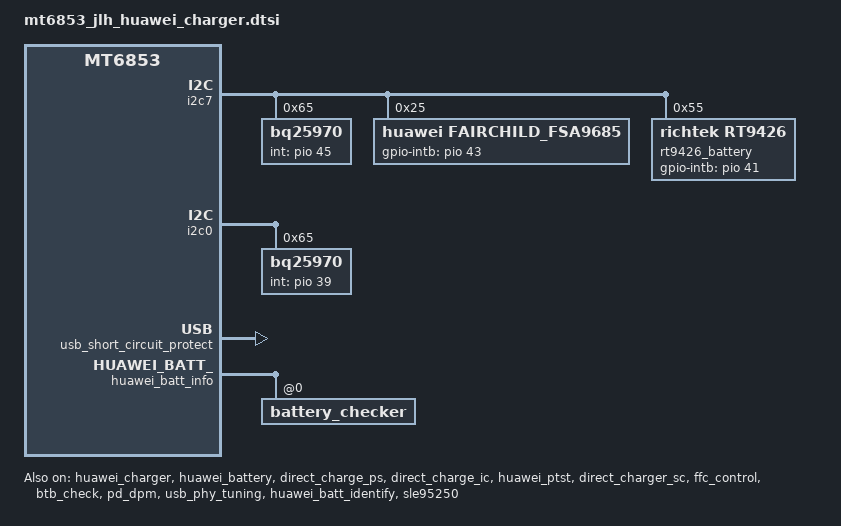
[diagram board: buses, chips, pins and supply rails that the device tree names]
&charger {
	ac_charger_current = <2695000>;
	ac_charger_input_current = <2300000>;
	fcp_charger_current = <2500000>;
	fcp_charger_input_current = <1400000>;
	non_std_ac_charger_current = <1200000>;
	pd_vbus_upper_bound = <9000000>;
	max_charger_voltage = <12000000>;
	bc12_charger = <22>; /* usb switch do bc12 */
	dpm_enable;
	battery_cv = <4440000>;
	iterm = <500000>;
	vbus_max_limit = <11500>;
	jeita_temp_above_t4_cv = <4100000>;
        jeita_temp_t3_to_t4_cv = <4100000>;
        jeita_temp_t2_to_t3_cv = <4440000>;
        jeita_temp_t1_to_t2_cv = <4440000>;
        jeita_temp_t0_to_t1_cv = <4440000>;
        jeita_temp_below_t0_cv = <4100000>;
        jeita_temp_t3_to_t4_cur = <1400000>;
        jeita_temp_t2_to_t3_cur = <2800000>;
        jeita_temp_t1_to_t2_cur = <1200000>;
        jeita_temp_t0_to_t1_cur = <400000>;
	vdpm_buf_limit = <100>;
	vdpm_para =
			"-32767", "4000", "4300", "50",
			"4000", "4200", "4500", "50",
			"4200", "32767", "4600", "50";
	charge_full_design = <3900000>;
};

&pio {
	bq25970_main_irq_pins_default: bq25970_main_irq_pins_default {
		pins_cmd_dat {
			pinmux = <PINMUX_GPIO45__FUNC_GPIO45>;
			slew-rate = <0>;
			bias-pull-up;
		};
	};
	bq25970_aux_irq_pins_default: bq25970_aux_irq_pins_default {
		pins_cmd_dat {
			pinmux = <PINMUX_GPIO39__FUNC_GPIO39>;
			slew-rate = <0>;
			bias-pull-up;
		};
	};
	fsa9685_irq_pins_default: fsa9685_irq_pins_default {
		pins_cmd_dat {
			pinmux = <PINMUX_GPIO43__FUNC_GPIO43>;
			slew-rate = <0>;
			bias-pull-up;
		};
	};
	rt9426_irq_pins_default: rt9426_irq_pins_default {
		pins_cmd_dat {
			pinmux = <PINMUX_GPIO41__FUNC_GPIO41>;
			slew-rate = <0>;
			bias-pull-up;
		};
	};
	bq27z561_irq_pins_default: bq27z561_irq_pins_default {
		pins_cmd_dat {
			pinmux = <PINMUX_GPIO41__FUNC_GPIO41>;
			slew-rate = <0>;
			bias-pull-up;
		};
	};
	battct_swi_pins_default: battct_swi_pins_default {
		pins_cmd_dat {
			pinmux = <PINMUX_GPIO46__FUNC_GPIO46>;
			slew-rate = <0>;
			bias-disabled;
			input-enable;
			drive-strength = <3>;
		};
	};
	battct_id_pins_default: battct_id_pins_default {
		pins_cmd_dat {
			pinmux = <PINMUX_GPIO48__FUNC_GPIO48>;
			slew-rate = <0>;
			bias-disabled;
			output-high;
		};
	};
};

&i2c7 {
	bq25970@65 {
		compatible = "bq25970";
		pinctrl-names = "default";
		pinctrl-0 = <&bq25970_main_irq_pins_default>;
		gpio_int = <&pio 45 0x0>;
		switching_frequency = <675>;
		sense_r_config = <20>;
		sense_r_actual = <10>;
		reg = <0x65>;
		status = "ok";
	};

	fairchild_fsa9685@25 {
		compatible = "huawei,fairchild_fsa9685";
		reg = <0x25>;
		pinctrl-names = "default";
		pinctrl-0 = <&fsa9685_irq_pins_default>;
		fairchild_fsa9685,gpio-intb = <&pio 43 0x0>;
		fcp_support = <1>;
		scp_support = <1>;
		power_by_5v = <1>;
		close_bc12 = <1>;
		need_other_bc12 = <0>;
		ignore_force_ac = <1>;
		/* for rt8979 */
		interrupt-names = "vbus_change", "device_change", "detach",
			"attach";
		/* auto_switch; */
		scp;
		dcd;
		dcd_timeout = <600>;  /* ms */
		intb_watchdog = <1000>;  /* ms */
		ovp_sel = <14500000>;  /* uV */
		status = "ok";
	};
	bq27z561_fg@55 {
		reg = <0x55>;
		compatible = "huawei,bq27z561";
		status = "disabled";
		pinctrl-names = "default";
		pinctrl-0 = <&bq27z561_irq_pins_default>;
		bq27z561,gpio-intb = <&pio 41 0x0>;
		ntc_compensation_is = <1>;
		ntc_temp_compensation_para =
			"11000", "140",
			"10000", "120",
			"9000", "100",
			"8000", "80",
			"7000", "60",
			"6000", "50",
			"5000", "40",
			"3000", "20",
			"2000", "10";
		batt_default_name = "ti_BCYCAE_4445_3900mah_BT162";
		#include "ti_BCYCAE_4445_3900mah_BT162.dtsi"
	};
	rt9426_battery@55{
		reg = <0x55>;
		rt,bat_name = "rt_battery";
		compatible = "richtek,rt9426";
		pinctrl-names = "default";
		pinctrl-0 = <&rt9426_irq_pins_default>;
		rt9426,gpio-intb = <&pio 41 0x0>;
		rt,dtsi_version = <02 724>;
		rt,battery_type = <4400>;
		rt,volt_source = <1>;		/* 0:AP 1:FG_VBAT 2:FG_OCV; 3:FG_AV  */
		rt,temp_source = <1>;		/* 0:AP 1:FG_TEMP 2:FG_INTT; 3:FG_AT */
		rt,curr_source = <2>;		/* 0:AP 1:FG_CURR 2:FG_AI            */
		rt,offset_interpolation_order = <2 2>;
		rt,soc_offset_size = <2 1>;
		rt,soc_offset_data = < 0 250 0 1000 250 0>;
		rt,extreg_size = <30>;
		rt_config_ver = <7>;
		rt,extreg_data = <
			0x1 0x4A 0x320B
			0x1 0x4C 0x0402
			0x1 0x4E 0x1810
			0x2 0x4E 0x2404
			0x3 0x4E 0xB708
			0x5 0x48 0x020A
			0x5 0x4C 0x3223
			0x6 0x40 0x8813
			0x6 0x42 0x8224
			0x6 0x44 0xAF77
			0x6 0x48 0xA310
			0x6 0x4A 0x6852
			0x6 0x4C 0x6457
			0x6 0x4E 0x0464
			0x7 0x40 0x0D12
			0x7 0x42 0x0508
			0x7 0x44 0x0505
			0x7 0x46 0x0101
			0x7 0x48 0x0101
			0x7 0x4A 0x0101
			0x7 0x4C 0x0001
			0x7 0x4E 0xFFFF
			0x8 0x40 0xFFFE
			0x8 0x42 0xFFFF
			0x8 0x44 0xFAFA
			0x8 0x46 0xF9FA
			0x8 0x48 0xFFFF
			0x8 0x4A 0xF2FF
			0x8 0x4C 0xECF2
			0x8 0x4E 0x00E7 >;
		rt,design_capacity = <1480>;
		rt,fcc = <1476>;
		rt,fg_fc_vth = <0x9F>;
		rt,fg_fc_ith = <0x3A>;
		rt,fg_fc_sth = <0x05>;
		rt,fg_fd_vth = <0x6A>;
		rt,fg_op_config = <0x3400 0x4000 0x3EFB 0x2000 0x087F>;
		rt,fg_otc_tth = <0x0064>;
		rt,fg_otc_chg_ith = <0x045F>;
		rt,fg_otd_tth = <0x0064>;
		rt,fg_otd_dchg_ith = <0x045F>;
		rt,fg_uvov_threshold = <0x00FF>;
		rt,fg_us_threshold = <0x00>;
		rt,fg_curr_db = <0x04>;
		rt,rs_ic_setting = <250>; /* 2.5mR */
		rt,rs_schematic = <100>; /* 1.0mR */
		rt,fg_ocv_table = < 0x0013 0x44C0 0x4B00 0x55F3 0x5A60 0x5BED 0x5C93 0x5DFA
				0x5FA6 0x60AD 0x619A 0x62CD 0x63AD 0x662D 0x687A 0x69E0
				0x6B0D 0x6C46 0x6DC0 0x706D 0x1900 0x0AF3 0x0367 0x01A2
				0x002B 0x004B 0x0035 0x003E 0x0058 0x00A6 0x0080 0x007F
				0x0090 0x0092 0x008F 0x008B 0x006D 0x0112 0x0013 0xFF80
				0x0000 0x0200 0x049A 0x0680 0x0E4D 0x17E6 0x281A 0x309A
				0x3600 0x39B3 0x3D33 0x474D 0x4F80 0x5466 0x589A 0x5D1A
				0x6400 0x6900 0x000A 0x0017 0x004B 0x009D 0x0600 0x036E
				0x04D6 0x0425 0x02EB 0x018B 0x0200 0x0205 0x01C8 0x01C0
				0x01CA 0x01D6 0x0257 0x00EF 0x27A8 0x0000 0x0000 0x0000 >;
		ntc_compensation_is = <1>;
		ntc_temp_compensation_para =
			"11000", "140",
			"10000", "120",
			"9000", "100",
			"8000", "80",
			"7000", "60",
			"6000", "50",
			"5000", "40",
			"3000", "20",
			"2000", "10";
		status = "ok";
	};
};
&i2c0 {
	bq25970@65 {
		compatible = "bq25970";
		pinctrl-names = "default";
		pinctrl-0 = <&bq25970_aux_irq_pins_default>;
		gpio_int = <&pio 39 0x0>;
		ic_role = <1>;
		switching_frequency = <675>;
		sense_r_config = <20>;
		sense_r_actual = <10>;
		reg = <0x65>;
		status = "ok";
	};
};
&huawei_charger {
	compatible = "huawei,charger";
	status = "okay";
};

&huawei_battery {
	compatible = "huawei,battery";
	voltage_max_design = <4430000>;
	status = "okay";
};

&lk_charger{
	ac_charger_current = <1050000>;
	ac_charger_input_current = <1050000>;
	non_std_ac_charger_current = <1050000>;
	max_charger_voltage = <12000000>;
	is_power_path;
	poweron_charger_enable = <1>;
};

&direct_charge_ps {
	status = "ok";
};

&direct_charge_ic {
	/* ic_index  path_index  max_ibat  ibat_sample_point  vbat_sample_point */
	ic_para1 =
		"0", "0", "0", "0", "0",
		"1", "1", "0", "0", "1";
	mode_para =
		"sc_mode", "ic_para1";
	status = "ok";
};

&direct_charger {
	status = "disabled";
};

&huawei_ptst {
	compatible = "huawei,power_test";
	dc_mmi_para = <45 0x01 1 5000 5>;
	status = "ok";
};

&direct_charger_sc {
	use_5A = <1>;
	use_higher_vbat = <1>;
	adaptor_antifake_check_enable = <1>;
	adaptor_antifake_key_index = <2>;
	dc_volt_ratio = <2>;
	max_adaptor_vset = <11000>;
	init_adapter_vset = <8800>;
	delta_err_10v2p25a = <150>;
	vol_err_th = <500>;
	adaptor_leakage_current_th = <600>;
	high_temp_hysteresis = <1>;
	gain_curr_10v2a = <300>;
	gain_curr_10v2p25a = <500>;
	init_delt_vset = <450>;
	vstep = <20>;
	max_dc_bat_vol = <4380>;
	max_current_for_none_standard_cable = <6000>;
	volt_para =
		"4150", "8000", "6000",
		"4250", "6000", "4000",
		"4300", "4000", "2800",
		"4440", "2800", "1200";
	volt_para1 =
		"4260", "12400", "11000",
		"4250", "11000", "8000",
		"4300", "8000", "6000",
		"4380", "6000", "4800",
		"4440", "4800", "1200";
	bat_para =
		"CAE", "10", "20", "volt_para",
		"CAE", "20", "45", "volt_para1",
		"default", "10", "20", "volt_para",
		"default", "20", "45", "volt_para1";
	second_resist_para =
		"0", "250", "0",
		"250", "450", "8000";
	vbat_error =
		"3", "100", "2", "-1",
		"3", "60", "1", "8000";
	current_ratio =
		"3", "6", "16", "2", "-1",
		"3", "9", "13", "1", "8000",
		"0", "9", "13", "0", "0";
	adapter_max_power_time_para =
		"3", "600", "6000",
		"4", "1200", "3000",
		"5", "600", "6000",
		"6", "600", "6000",
		"7", "600", "6000",
		"8", "600", "6000",
		"9", "1200", "3000",
		"10", "1200", "3000",
		"12", "600", "6000",
		"13", "600", "6000",
		"14", "600", "6000",
		"15", "1200", "3000";
	vstep_para =
			"2000", "80";
	compensate_r = <0>;
	cc_cable_detect_enable = <1>;
	cc_unsafe_sc_enable = <1>;
	full_path_res_max = <500>;
	scp_work_on_charger = <1>;
	standard_cable_full_path_res_max = <500>;
	first_cc_stage_timer_in_min = <14>;
	stage_need_to_jump = "-1";
	is_show_ico_first = <1>;
	is_send_cable_type = <0>;
	support_multi_ic = <1>;
	10v4a_cur_para =
		"-32767", "11000", "4000";
	rt_test_para =
		/* first:sc second:mainsc third:auxsc */
		"1200", "50",
		"1200", "50",
		"1200", "50";
	temp_para =
		"-32767", "10", "0",
		"10", "46", "12500",
		"46", "32767", "0";
	resist_para =
		"0", "300", "6000",
		"300", "500", "5000";
	std_resist_para =
		"0", "300", "12500",
		"300", "500", "5000";
	10v2p25a_cur_para =
		"-32767", "5500",  "2000",
		"5500",   "9000",  "2500",
		"9000",   "10000", "2250",
		"10000",  "10500", "2000",
		"10500",  "32767", "1500";
	status = "ok";
};

&ffc_control {
	status = "ok";
	dc_vbat_para =
		"4420", "4420";
};

&btb_check {
	vol_check_para = "1", "1", "2700", "4700", "120", "3", "0";
	status = "ok";
};

&bat_gm30 {
	bat_para =
		"BYT_CAE", "250000", "350000",
		"BIT_CAE", "830000", "960000";
        ntc_compensation_is = <1>;
        ntc_temp_compensation_para =
		"11000", "140",
		"10000", "120",
		"9000", "100",
		"8000", "80",
		"7000", "60",
		"6000", "50",
		"5000", "40",
		"3000", "20",
		"2000", "10";
	min_fcc = <2590000>;
	max_fcc = <3900000>;
	dlpt_optimization;
	CAR_TUNE_VALUE = <(500)>;
	ACTIVE_TABLE = <(0)>;
	MULTI_BATTERY = <0>;
	#include "BITCAE_4v43_3900mah_ext.dtsi"
	#include "BYTCAE_4v43_3900mah_ext.dtsi"
};

&usb_c_pinctrl {
	status = "disabled";
};

&pd_dpm {
	support_analog_audio = <1>;
	status = "ok";
};

&mt6360_pmu {
	mt6360,intr_gpio_num = <10>; /* direct defined GPIO num */
	mt6360,intr_gpio = <&pio 10 0x0>;
};

&mt6360_typec {
	mt6360pd,intr_gpio_num = <9>; /* direct defined GPIO num */
	mt6360pd,intr_gpio = <&pio 9 0x0>;
};

&power_thermalzone {
	status = "ok";
};

&usb_short_circuit_protect {
	uscp_threshold_tusb = <40>;
	open_mosfet_temp = <30>;
	close_mosfet_temp = <10>;
	open_hiz_temp = <30>;
	interval_switch_temp = <15>;
	status = "ok";
};

&usb_phy_tuning {
		h_u2_vrt_ref = <7>;
		h_u2_term_ref = <7>;
		h_u2_enhance = <3>;
		d_u2_vrt_ref = <7>;
		d_u2_term_ref = <7>;
		d_u2_enhance = <3>;
		status = "ok";
};

&huawei_batt_identify {
	pinctrl-names = "default";
	pinctrl-0 = <&battct_id_pins_default>;
	gpios = <&pio 48 0x0>;
	id_voltage_gpiov = <0 1>;
	id_sn_gpiov = <0 0>;
	status = "ok";
};

&huawei_batt_info {
	status = "ok";
	shield_ct_sign = <1>;
	battery_checker@0 {
		matchable = <&sle95250>;
		status = "ok";
	};
};

&sle95250 {
	pinctrl-names = "default";
	pinctrl-0 = <&battct_swi_pins_default>;
	onewire-gpio = <&pio 46 0x0>;
	product_id0 = <1>;
	product_id2 = <3>;
	gpio_sn_mode_val = <0>;
	dip_check = <0>;
	gpio_swi = <46>;
	gpio_id_mode = <48>;
	gpio_swi_drv = <3>;
	status = "ok";
};
